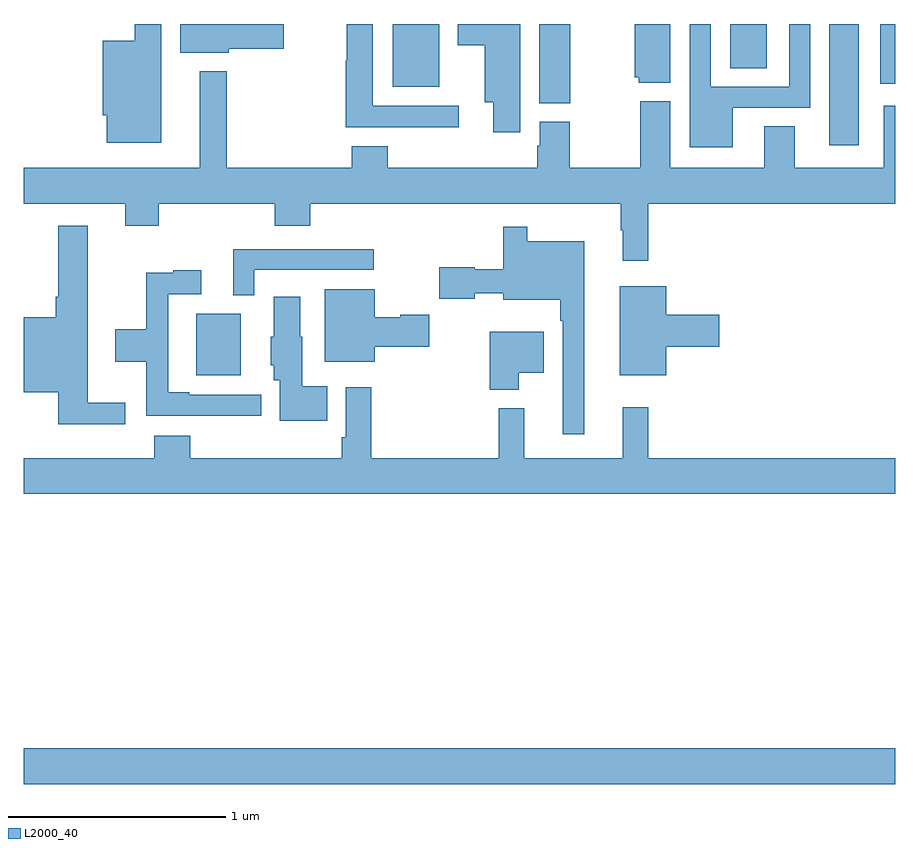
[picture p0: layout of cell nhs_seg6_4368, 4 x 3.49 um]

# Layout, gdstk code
import gdstk
lib = gdstk.Library(unit=1e-6, precision=1e-09)
def R(c, l, rs):  # rectangles x0, y0, x1, y1
    for r in rs: c.add(gdstk.rectangle(r[:2], r[2:], *l))
def P(c, l, *ps):  # polygons
    for p in ps: c.add(gdstk.Polygon(p, *l))
L2000_40 = (2000, 40)

nhs_seg6_4368 = lib.new_cell('nhs_seg6_4368')
R(nhs_seg6_4368, L2000_40, [(369,938.012,373,938.176), (369.791,939.887,369.997,940.171), (372.698,940.944,372.832,941.5), (371.366,941.137,371.508,941.5), (370.694,941.213,370.906,941.5), (372.932,941.226,373,941.5), (372.242,941.296,372.409,941.5)])
P(nhs_seg6_4368, L2000_40, [(370.996,941.124),(370.603,941.124),(370.603,941.5),(370.483,941.5),(370.483,941.331),(370.478,941.331),(370.478,941.027),(370.996,941.027)],
  [(371.968,941.5),(371.804,941.5),(371.804,941.256),(371.823,941.256),(371.823,941.231),(371.968,941.231)],
  [(371.278,941.5),(370.991,941.5),(370.991,941.402),(371.117,941.402),(371.117,941.141),(371.156,941.141),(371.156,941.004),(371.278,941.004)],
  [(372.253,941.115),(372.609,941.115),(372.609,941.5),(372.513,941.5),(372.513,941.211),(372.153,941.211),(372.153,941.5),(372.057,941.5),(372.057,940.934),(372.253,940.934)],
  [(369.631,941.5),(369.51,941.5),(369.51,941.422),(369.362,941.422),(369.362,941.082),(369.38,941.082),(369.38,940.955),(369.631,940.955)],
  [(369.942,941.387),(370.194,941.387),(370.194,941.5),(369.719,941.5),(369.719,941.369),(369.942,941.369)],
  [(371.867,940.676),(373,940.676),(373,941.125),(372.947,941.125),(372.947,940.84),(372.538,940.84),(372.538,941.03),(372.398,941.03),(372.398,940.84),(371.968,940.84),(371.968,941.146),(371.83,941.146),(371.83,940.84),(371.505,940.84),(371.505,941.052),(371.369,941.052),(371.369,940.941),(371.357,940.941),(371.357,940.84),(370.67,940.84),(370.67,940.939),(370.505,940.939),(370.505,940.84),(369.931,940.84),(369.931,941.284),(369.809,941.284),(369.809,940.84),(369,940.84),(369,940.676),(369.467,940.676),(369.467,940.574),(369.62,940.574),(369.62,940.676),(370.151,940.676),(370.151,940.574),(370.316,940.574),(370.316,940.676),(371.739,940.676),(371.739,940.553),(371.75,940.553),(371.75,940.413),(371.867,940.413)],
  [(369.466,939.761),(369.295,939.761),(369.295,940.573),(369.158,940.573),(369.158,940.249),(369.146,940.249),(369.146,940.153),(369,940.153),(369,939.809),(369.158,939.809),(369.158,939.662),(369.466,939.662)],
  [(371.572,940.504),(371.311,940.504),(371.311,940.57),(371.201,940.57),(371.201,940.375),(371.07,940.375),(371.07,940.383),(370.908,940.383),(370.908,940.238),(371.07,940.238),(371.07,940.265),(371.201,940.265),(371.201,940.235),(371.463,940.235),(371.463,940.139),(371.475,940.139),(371.475,939.618),(371.572,939.618)],
  [(370.059,940.371),(370.606,940.371),(370.606,940.467),(369.962,940.467),(369.962,940.256),(370.059,940.256)],
  [(370.09,939.798),(369.76,939.798),(369.76,939.811),(369.663,939.811),(369.663,940.26),(369.814,940.26),(369.814,940.369),(369.686,940.369),(369.686,940.358),(369.562,940.358),(369.562,940.098),(369.42,940.098),(369.42,939.95),(369.562,939.95),(369.562,939.702),(369.847,939.702),(369.847,939.701),(370.09,939.701)],
  [(371.95,940.019),(372.193,940.019),(372.193,940.166),(371.95,940.166),(371.95,940.297),(371.735,940.297),(371.735,939.887),(371.95,939.887)],
  [(370.612,940.019),(370.861,940.019),(370.861,940.166),(370.728,940.166),(370.728,940.153),(370.612,940.153),(370.612,940.282),(370.382,940.282),(370.382,939.95),(370.612,939.95)],
  [(370.394,939.838),(370.279,939.838),(370.279,940.065),(370.27,940.065),(370.27,940.249),(370.148,940.249),(370.148,940.065),(370.133,940.065),(370.133,939.933),(370.148,939.933),(370.148,939.864),(370.175,939.864),(370.175,939.68),(370.394,939.68)],
  [(371.272,939.899),(371.386,939.899),(371.386,940.087),(371.138,940.087),(371.138,939.821),(371.272,939.821)],
  [(373,939.508),(371.867,939.508),(371.867,939.742),(371.75,939.742),(371.75,939.508),(371.297,939.508),(371.297,939.736),(371.179,939.736),(371.179,939.508),(370.595,939.508),(370.595,939.832),(370.479,939.832),(370.479,939.604),(370.459,939.604),(370.459,939.508),(369.764,939.508),(369.764,939.61),(369.599,939.61),(369.599,939.508),(369,939.508),(369,939.344),(373,939.344)])

lib.write_gds('nhs_seg6_4368.gds')
